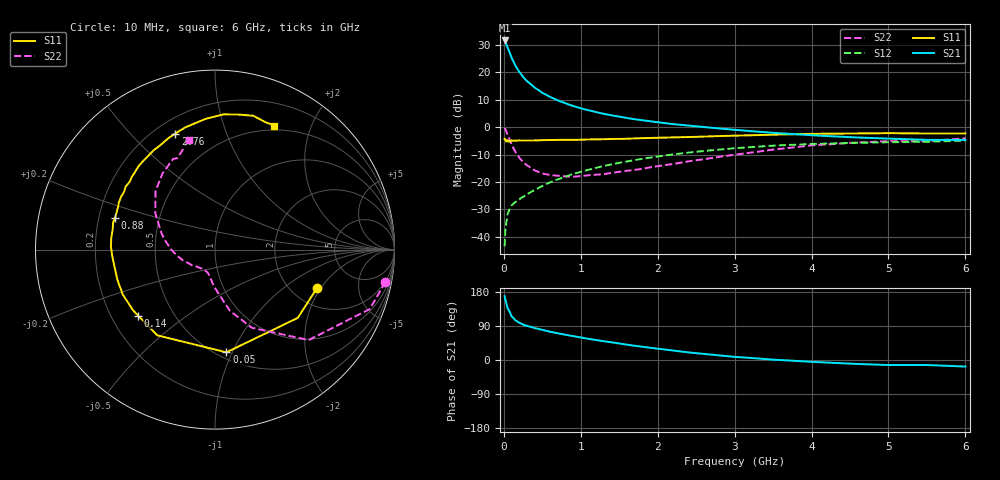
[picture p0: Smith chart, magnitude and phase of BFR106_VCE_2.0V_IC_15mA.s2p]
! Infineon Technologies  Discrete & RF Semiconductors
! BFR106
! VCE =  2.0 V,  IC =  15 mA
! Common Emitter S-Parameters:  Nov 2015
# GHz  S  MA  R  50
!  f  S11  S21  S12  S22
! GHz  MAG  ANG  MAG  ANG  MAG  ANG  MAG  ANG
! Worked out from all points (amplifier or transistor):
!   210 points, 10 MHz to 6 GHz, reference 50 ohm
!   highest |S21| = 31.5 dB at 10 MHz (marker M1)
!   |S21| within 3 dB of that: start of sweep to 55.28 MHz
!   unconditionally stable (mu >= 1): 394.1 MHz to 2.479 GHz; 5.05 GHz to end of sweep
!   at 185 MHz: K = 0.70, MSG = 23.7 dB, |S12| = -26.6 dB
!   at 1.52 GHz: K = 1.08, MAG = 6.6 dB, |S12| = -12.9 dB
!   at 6 GHz: K = 1.02, MAG = -0.7 dB, |S12| = -4.9 dB
!   S11 on the Smith chart (normalised r, x): 10 MHz: 2.73, -1.84; 50 MHz: 0.55, -0.95; 140 MHz: 0.31, -0.34; 880 MHz: 0.27, +0.15; 2.76 GHz: 0.28, +0.68; 6 GHz: 0.45, +1.49
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0.01  0.6077 -20.5  37.74 168.4  0.0068 82.5  0.9667 -10.7
0.02  0.598 -39.5  35.89 158.8  0.0132 73.5  0.9239 -21.0
0.05  0.576 -83.7  27.83 135.5  0.0264 58.0  0.7257 -44.0
0.1  0.5758 -124.0  18.32 115.4  0.0374 49.2  0.4812 -64.8
0.14  0.5644 -139.4  14.04 107.3  0.0421 48.0  0.3758 -73.3
0.15  0.568 -143.3  13.04 104.5  0.0433 47.7  0.3512 -76.2
0.2  0.5716 -154.0  10.13 98.3  0.0485 49.6  0.278 -81.9
0.24  0.5688 -160.6  8.559 94.5  0.0528 51.0  0.2385 -86.4
0.3  0.5676 -167.3  6.872 89.9  0.0599 54.2  0.202 -91.9
0.4  0.5727 -175.7  5.231 84.2  0.0717 57.2  0.1635 -98.4
0.5  0.5802 178.5  4.21 79.2  0.0845 59.6  0.1429 -103.6
0.6  0.5817 173.4  3.54 74.6  0.0986 61.0  0.134 -108.2
0.7  0.5809 168.8  3.064 70.4  0.1118 61.7  0.1302 -113.3
0.88  0.585 162.2  2.476 63.7  0.1371 61.6  0.1248 -120.8
1.02  0.5896 156.5  2.16 58.7  0.1562 61.0  0.1293 -126.1
1.4  0.609 144.7  1.632 46.7  0.2097 57.9  0.1466 -141.0
2.02  0.6383 127.3  1.215 29.5  0.2944 49.8  0.1966 -164.6
2.76  0.6834 108.9  0.952 12.8  0.3853 38.5  0.2823 169.7
3.1  0.7044 101.9  0.869 7.0  0.4208 33.0  0.3267 159.3
4.1  0.7559 85.2  0.698 -5.7  0.4967 17.2  0.4729 133.2
5.1  0.7726 72.9  0.611 -13.3  0.532 4.3  0.5553 114.3
6  0.7662 64.4  0.584 -17.3  0.5677 -5.3  0.6265 103.6
